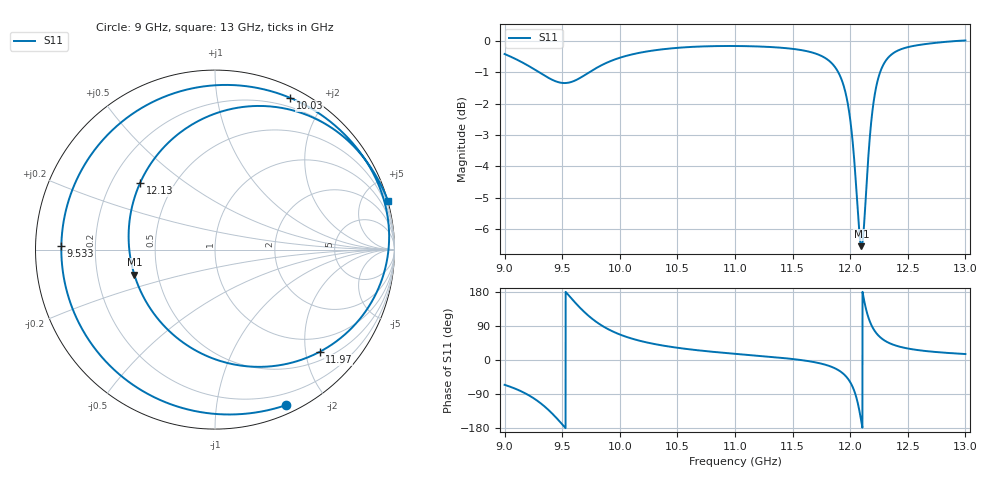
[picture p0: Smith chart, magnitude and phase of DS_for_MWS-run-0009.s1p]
! TOUCHSTONE file generated by CST DESIGN STUDIO
! Date and time: Wed Feb  5 13:40:38 2025
! Project name: C:\Work\MatlabApps\UnitCellOptimizationMatlab\CST\unitcell.cst
! Tree item: Tasks\Sweep1\SPara1\S-Parameters
! Header version: 2024
! Port assignment regex: !\s*Touchstone port\s*([0-9]+)\s*=\s*(CST MWS port|CST DES external port|CST DES block port)\s*(.+)\s* \(\"(.*)\"\)(\s*mode\s*([0-9]+))?.*
! Touchstone port assignment:
! Touchstone port 1 = CST DES external port 1 ("")
# GHz S MA R 50
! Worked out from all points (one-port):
!   4001 points, 9 GHz to 13 GHz, reference 50 ohm
!   lowest |S11| = -6.5 dB at 12.1 GHz (marker M1), VSWR 2.78, Z = 18.4 - j6.59 ohm
!   |S11| at or under -10 dB: nowhere
!   S11 on the Smith chart (normalised r, x): 9 GHz: 0.08, -1.55; 9.533 GHz: 0.08, +0.01; 10.03 GHz: 0.10, +1.61; 11.97 GHz: 0.67, -2.28; 12.13 GHz: 0.32, +0.34; 13 GHz: -0.03, +7.24
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9  0.9525 -65.5
9.147  0.9249 -83.1
9.296  0.8917 -110.2
9.396  0.8697 -136.2
9.5  0.8566 -169.8
9.533  0.8564 178.8
9.645  0.8704 140.9
9.74  0.892 113.7
9.849  0.9156 89.9
10  0.9395 67.3
10.032  0.9434 63.7
10.233  0.9613 46.4
10.5  0.9743 32.3
11  0.9809 16.3
11.5  0.9707 2.6
11.824  0.9267 -16.4
11.907  0.8831 -28.6
11.967  0.8149 -44.4
12  0.7493 -58.4
12.052  0.5841 -97.3
12.097  0.4707 -162.7
12.134  0.558 138.6
12.162  0.6712 108.6
12.191  0.7676 87.9
12.281  0.9106 55.0
12.369  0.9541 40.9
12.5  0.9768 30.3
13  1.001 15.7
